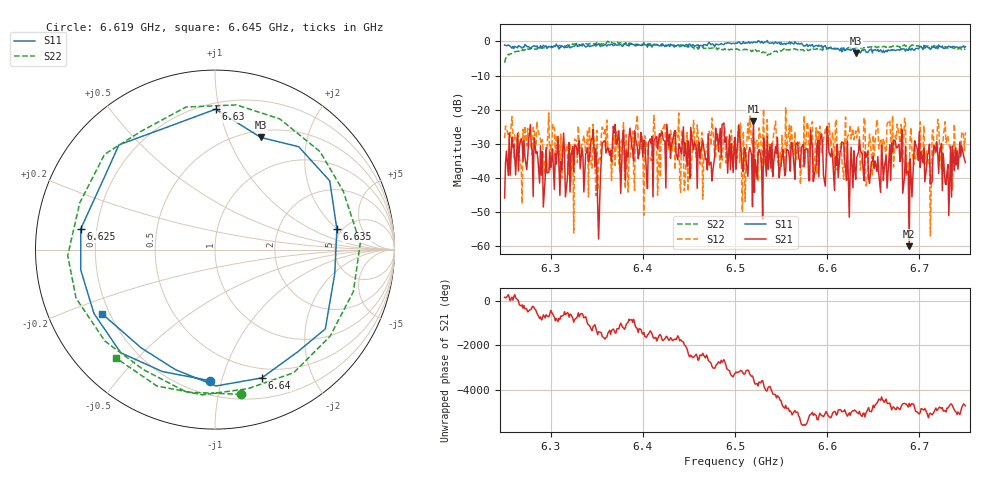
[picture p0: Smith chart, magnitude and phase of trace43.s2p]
# Hz S RI R 50
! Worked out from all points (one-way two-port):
!   401 points, 6.25 GHz to 6.75 GHz, reference 50 ohm
!   highest |S21| = -23.38 dB at 6.52 GHz (marker M1); lowest = -60.0 dB at 6.689 GHz (marker M2)
!   lowest |S11| = -3.4 dB at 6.631 GHz (marker M3), VSWR 5.15, Z = 28.8 + j66.1 ohm
!   |S11| at or under -10 dB: nowhere
!   |S22| runs from -6.2 to 0.1 dB; largest |S21 - S12| = 0.13
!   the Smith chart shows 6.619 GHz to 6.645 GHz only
!   S11 on the Smith chart (normalised r, x): 6.619 GHz: 0.29, -0.92; 6.625 GHz: 0.14, +0.08; 6.63 GHz: 0.24, +0.97; 6.635 GHz: 4.54, +1.96; 6.64 GHz: 0.40, -1.35; 6.645 GHz: 0.17, -0.26
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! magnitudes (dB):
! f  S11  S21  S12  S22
! 6.25 GHz  -1.1  -45.9  -28.4  -6.2
! 6.258 GHz  -2.0  -28.0  -22.1  -3.6
! 6.322 GHz  -1.7  -33.6  -41.2  -1.0
! 6.334 GHz  -1.3  -31.2  -30.1  -0.8
! 6.346 GHz  -1.2  -25.7  -24.3  -0.7
! 6.352 GHz  -0.7  -57.9  -33.9  -0.6
! 6.37 GHz  -0.8  -24.3  -36.3  -0.8
! 6.418 GHz  -1.3  -27.1  -27.9  -0.7
! 6.5 GHz  -0.6  -28.1  -29.8  -2.2
! 6.52 GHz  -0.2  -23.4  -25.9  -2.9
! 6.584 GHz  -0.9  -31.5  -23.5  -2.6
! 6.619 GHz  -2.7  -35.0  -29.0  -1.7
! 6.625 GHz  -2.4  -37.9  -24.5  -1.7
! 6.63 GHz  -2.1  -37.6  -27.6  -1.8
! 6.631 GHz  -3.4  -40.4  -26.2  -1.8
! 6.635 GHz  -3.2  -28.7  -27.9  -2.1
! 6.64 GHz  -2.4  -40.9  -22.4  -1.8
! 6.645 GHz  -2.8  -40.2  -30.6  -1.7
! 6.668 GHz  -2.7  -30.2  -23.1  -1.7
! 6.689 GHz  -1.8  -60.0  -40.1  -1.4
! 6.698 GHz  -2.0  -31.6  -32.0  -1.3
! 6.75 GHz  -1.5  -35.5  -26.7  -2.1
